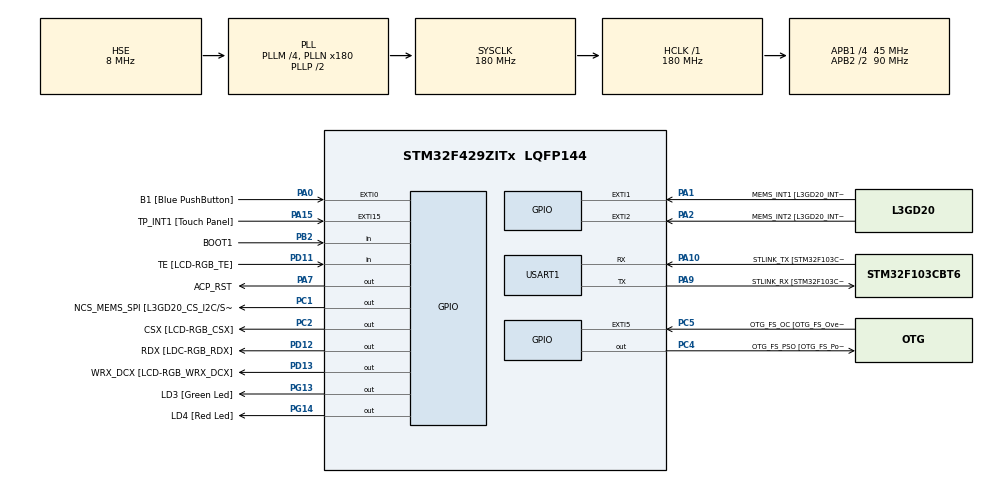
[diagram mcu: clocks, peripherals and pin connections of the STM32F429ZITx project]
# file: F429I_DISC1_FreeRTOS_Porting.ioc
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Mcu.Family=STM32F4
Mcu.Name=STM32F429ZITx
Mcu.Package=LQFP144
NVIC.PriorityGroup=NVIC_PRIORITYGROUP_4
NVIC.TIM6_DAC_IRQn=true\:15\:0\:false\:false\:true\:false\:true\:true
NVIC.TimeBase=TIM6_DAC_IRQn
NVIC.TimeBaseIP=TIM6
PA0/WKUP.GPIO_Label=B1 [Blue PushButton]
PA0/WKUP.GPIO_ModeDefaultEXTI=GPIO_MODE_EVT_RISING
PA0/WKUP.GPIO_PuPd=GPIO_NOPULL
PA0/WKUP.Signal=GPXTI0
PA1.GPIO_Label=MEMS_INT1 [L3GD20_INT1]
PA1.GPIO_ModeDefaultEXTI=GPIO_MODE_EVT_RISING
PA1.GPIO_PuPd=GPIO_NOPULL
PA1.Signal=GPXTI1
PA10.GPIO_Label=STLINK_TX [STM32F103CBT6_PA2]
PA10.Mode=Asynchronous
PA10.Signal=USART1_RX
PA11.GPIO_Label=R4
PA11.GPIO_Mode=GPIO_MODE_AF_PP
PA11.GPIO_PuPd=GPIO_NOPULL
PA11.GPIO_Speed=GPIO_SPEED_FREQ_LOW
PA11.Signal=LTDC_R4
PA12.GPIO_Label=R5
PA12.GPIO_Mode=GPIO_MODE_AF_PP
PA12.GPIO_PuPd=GPIO_NOPULL
PA12.GPIO_Speed=GPIO_SPEED_FREQ_LOW
PA12.Signal=LTDC_R5
PA13.GPIO_Label=SWDIO
PA13.Mode=Serial_Wire
PA13.Signal=SYS_JTMS-SWDIO
PA14.GPIO_Label=SWCLK
PA14.Mode=Serial_Wire
PA14.Signal=SYS_JTCK-SWCLK
PA15.GPIO_Label=TP_INT1 [Touch Panel]
PA15.GPIO_ModeDefaultEXTI=GPIO_MODE_EVT_RISING
PA15.GPIO_PuPd=GPIO_NOPULL
PA15.Signal=GPXTI15
PA2.GPIO_Label=MEMS_INT2 [L3GD20_INT2]
PA2.GPIO_ModeDefaultEXTI=GPIO_MODE_EVT_RISING
PA2.GPIO_PuPd=GPIO_NOPULL
PA2.Signal=GPXTI2
PA3.GPIO_Label=B5
PA3.GPIO_Mode=GPIO_MODE_AF_PP
PA3.GPIO_PuPd=GPIO_NOPULL
PA3.GPIO_Speed=GPIO_SPEED_FREQ_LOW
PA3.Signal=LTDC_B5
PA4.GPIO_Label=VSYNC
PA4.GPIO_Mode=GPIO_MODE_AF_PP
PA4.GPIO_PuPd=GPIO_NOPULL
PA4.GPIO_Speed=GPIO_SPEED_FREQ_LOW
PA4.Signal=LTDC_VSYNC
PA6.GPIO_Label=G2
PA6.GPIO_Mode=GPIO_MODE_AF_PP
PA6.GPIO_PuPd=GPIO_NOPULL
PA6.GPIO_Speed=GPIO_SPEED_FREQ_LOW
PA6.Signal=LTDC_G2
PA7.GPIO_Label=ACP_RST
PA7.GPIO_Mode=GPIO_MODE_OUTPUT_PP
PA7.GPIO_PuPd=GPIO_NOPULL
PA7.GPIO_Speed=GPIO_SPEED_FREQ_LOW
PA7.Signal=GPIO_Output
PA8.GPIO_Label=I2C3_SCL [ACP/RF_SCL]
PA8.GPIO_Mode=GPIO_MODE_AF_OD
PA8.GPIO_Pu=GPIO_PULLUP
PA8.GPIO_PuPd=GPIO_NOPULL
PA8.GPIO_Speed=GPIO_SPEED_FREQ_LOW
PA8.Signal=I2C3_SCL
PA9.GPIO_Label=STLINK_RX [STM32F103CBT6_PA3]
PA9.Mode=Asynchronous
PA9.Signal=USART1_TX
PB0.GPIO_Label=R3
PB0.GPIO_Mode=GPIO_MODE_AF_PP
PB0.GPIO_PuPd=GPIO_NOPULL
PB0.GPIO_Speed=GPIO_SPEED_FREQ_LOW
PB0.Signal=LTDC_R3
PB1.GPIO_Label=R6
PB1.GPIO_Mode=GPIO_MODE_AF_PP
PB1.GPIO_PuPd=GPIO_NOPULL
PB1.GPIO_Speed=GPIO_SPEED_FREQ_LOW
PB1.Signal=LTDC_R6
PB10.GPIO_Label=G4
PB10.GPIO_Mode=GPIO_MODE_AF_PP
PB10.GPIO_PuPd=GPIO_NOPULL
PB10.GPIO_Speed=GPIO_SPEED_FREQ_LOW
PB10.Signal=LTDC_G4
PB11.GPIO_Label=G5
PB11.GPIO_Mode=GPIO_MODE_AF_PP
PB11.GPIO_PuPd=GPIO_NOPULL
PB11.GPIO_Speed=GPIO_SPEED_FREQ_LOW
PB11.Signal=LTDC_G5
PB12.GPIO_Label=OTG_HS_ID
PB12.GPIO_Mode=GPIO_MODE_AF_PP
PB12.GPIO_PuPd=GPIO_NOPULL
PB12.GPIO_Speed=GPIO_SPEED_FREQ_LOW
PB12.Signal=USB_OTG_HS_ID
PB13.GPIO_Label=VBUS_HS
PB13.GPIO_Mode=GPIO_MODE_INPUT
PB13.GPIO_PuPd=GPIO_NOPULL
PB13.Signal=USB_OTG_HS_VBUS
PB14.GPIO_Label=OTG_HS_DM
PB14.GPIO_Mode=GPIO_MODE_AF_PP
PB14.GPIO_PuPd=GPIO_NOPULL
PB14.GPIO_Speed=GPIO_SPEED_FREQ_LOW
PB14.Signal=USB_OTG_HS_DM
PB15.GPIO_Label=OTG_HS_DP
PB15.GPIO_Mode=GPIO_MODE_AF_PP
PB15.GPIO_PuPd=GPIO_NOPULL
PB15.GPIO_Speed=GPIO_SPEED_FREQ_LOW
PB15.Signal=USB_OTG_HS_DP
PB2/BOOT1.GPIO_Label=BOOT1
PB2/BOOT1.GPIO_Mode=GPIO_MODE_INPUT
PB2/BOOT1.GPIO_PuPd=GPIO_NOPULL
PB2/BOOT1.Signal=GPIO_Input
PB5.GPIO_Label=SDCKE1
PB5.GPIO_Mode=GPIO_MODE_AF_PP
PB5.GPIO_PuPd=GPIO_NOPULL
PB5.GPIO_Speed=GPIO_SPEED_FREQ_VERY_HIGH
PB5.Signal=FMC_SDCKE1
PB6.GPIO_Label=SDNE1 [SDRAM_CS]
PB6.GPIO_Mode=GPIO_MODE_AF_PP
PB6.GPIO_PuPd=GPIO_NOPULL
PB6.GPIO_Speed=GPIO_SPEED_FREQ_VERY_HIGH
PB6.Signal=FMC_SDNE1
PB8.GPIO_Label=B6
PB8.GPIO_Mode=GPIO_MODE_AF_PP
PB8.GPIO_PuPd=GPIO_NOPULL
PB8.GPIO_Speed=GPIO_SPEED_FREQ_LOW
PB8.Signal=LTDC_B6
PB9.GPIO_Label=B7
PB9.GPIO_Mode=GPIO_MODE_AF_PP
PB9.GPIO_PuPd=GPIO_NOPULL
PB9.GPIO_Speed=GPIO_SPEED_FREQ_LOW
PB9.Signal=LTDC_B7
PC0.GPIO_Label=SDNWE
PC0.GPIO_Mode=GPIO_MODE_AF_PP
PC0.GPIO_PuPd=GPIO_NOPULL
PC0.GPIO_Speed=GPIO_SPEED_FREQ_VERY_HIGH
PC0.Signal=FMC_SDNWE
PC1.GPIO_Label=NCS_MEMS_SPI [L3GD20_CS_I2C/SPI]
PC1.GPIO_Mode=GPIO_MODE_OUTPUT_PP
PC1.GPIO_PuPd=GPIO_NOPULL
PC1.GPIO_Speed=GPIO_SPEED_FREQ_LOW
PC1.Signal=GPIO_Output
PC10.GPIO_Label=R2
PC10.GPIO_Mode=GPIO_MODE_AF_PP
PC10.GPIO_PuPd=GPIO_NOPULL
PC10.GPIO_Speed=GPIO_SPEED_FREQ_LOW
PC10.Signal=LTDC_R2
PC14/OSC32_IN.GPIO_Label=PC14-OSC32_IN
PC14/OSC32_IN.Signal=RCC_OSC32_IN
PC15/OSC32_OUT.GPIO_Label=PC15-OSC32_OUT
PC15/OSC32_OUT.Signal=RCC_OSC32_OUT
PC2.GPIO_Label=CSX [LCD-RGB_CSX]
PC2.GPIO_Mode=GPIO_MODE_OUTPUT_PP
PC2.GPIO_PuPd=GPIO_NOPULL
PC2.GPIO_Speed=GPIO_SPEED_FREQ_LOW
PC2.Signal=GPIO_Output
PC4.GPIO_Label=OTG_FS_PSO [OTG_FS_PowerSwitchOn]
PC4.GPIO_Mode=GPIO_MODE_OUTPUT_PP
PC4.GPIO_PuPd=GPIO_NOPULL
PC4.GPIO_Speed=GPIO_SPEED_FREQ_LOW
PC4.Signal=GPIO_Output
PC5.GPIO_Label=OTG_FS_OC [OTG_FS_OverCurrent]
PC5.GPIO_ModeDefaultEXTI=GPIO_MODE_EVT_RISING
PC5.Signal=GPXTI5
PC6.GPIO_Label=HSYNC
PC6.GPIO_Mode=GPIO_MODE_AF_PP
PC6.GPIO_PuPd=GPIO_NOPULL
PC6.GPIO_Speed=GPIO_SPEED_FREQ_LOW
PC6.Signal=LTDC_HSYNC
PC7.GPIO_Label=G6
PC7.GPIO_Mode=GPIO_MODE_AF_PP
PC7.GPIO_PuPd=GPIO_NOPULL
PC7.GPIO_Speed=GPIO_SPEED_FREQ_LOW
PC7.Signal=LTDC_G6
PC9.GPIO_Label=I2C3_SDA [ACP/RF_SDA]
PC9.GPIO_Mode=GPIO_MODE_AF_OD
PC9.GPIO_Pu=GPIO_PULLUP
PC9.GPIO_PuPd=GPIO_NOPULL
PC9.GPIO_Speed=GPIO_SPEED_FREQ_LOW
PC9.Signal=I2C3_SDA
PD0.GPIO_Label=D2
PD0.GPIO_Mode=GPIO_MODE_AF_PP
PD0.GPIO_PuPd=GPIO_NOPULL
PD0.GPIO_Speed=GPIO_SPEED_FREQ_VERY_HIGH
PD0.Signal=FMC_D2_DA2
PD1.GPIO_Label=D3
PD1.GPIO_Mode=GPIO_MODE_AF_PP
PD1.GPIO_PuPd=GPIO_NOPULL
PD1.GPIO_Speed=GPIO_SPEED_FREQ_VERY_HIGH
PD1.Signal=FMC_D3_DA3
PD10.GPIO_Label=D15
PD10.GPIO_Mode=GPIO_MODE_AF_PP
PD10.GPIO_PuPd=GPIO_NOPULL
PD10.GPIO_Speed=GPIO_SPEED_FREQ_VERY_HIGH
PD10.Signal=FMC_D15_DA15
PD11.GPIO_Label=TE [LCD-RGB_TE]
PD11.GPIO_Mode=GPIO_MODE_INPUT
PD11.GPIO_PuPd=GPIO_NOPULL
PD11.Signal=GPIO_Input
PD12.GPIO_Label=RDX [LDC-RGB_RDX]
PD12.GPIO_Mode=GPIO_MODE_OUTPUT_PP
PD12.GPIO_PuPd=GPIO_NOPULL
PD12.GPIO_Speed=GPIO_SPEED_FREQ_LOW
PD12.Signal=GPIO_Output
PD13.GPIO_Label=WRX_DCX [LCD-RGB_WRX_DCX]
PD13.GPIO_Mode=GPIO_MODE_OUTPUT_PP
PD13.GPIO_PuPd=GPIO_NOPULL
PD13.GPIO_Speed=GPIO_SPEED_FREQ_LOW
PD13.Signal=GPIO_Output
PD14.GPIO_Label=D0
PD14.GPIO_Mode=GPIO_MODE_AF_PP
PD14.GPIO_PuPd=GPIO_NOPULL
PD14.GPIO_Speed=GPIO_SPEED_FREQ_VERY_HIGH
PD14.Signal=FMC_D0_DA0
PD15.GPIO_Label=D1
PD15.GPIO_Mode=GPIO_MODE_AF_PP
PD15.GPIO_PuPd=GPIO_NOPULL
PD15.GPIO_Speed=GPIO_SPEED_FREQ_VERY_HIGH
PD15.Signal=FMC_D1_DA1
PD3.GPIO_Label=G7
PD3.GPIO_Mode=GPIO_MODE_AF_PP
PD3.GPIO_PuPd=GPIO_NOPULL
PD3.GPIO_Speed=GPIO_SPEED_FREQ_LOW
PD3.Signal=LTDC_G7
PD6.GPIO_Label=B2
PD6.GPIO_Mode=GPIO_MODE_AF_PP
PD6.GPIO_PuPd=GPIO_NOPULL
PD6.GPIO_Speed=GPIO_SPEED_FREQ_LOW
PD6.Signal=LTDC_B2
PD8.GPIO_Label=D13
PD8.GPIO_Mode=GPIO_MODE_AF_PP
PD8.GPIO_PuPd=GPIO_NOPULL
PD8.GPIO_Speed=GPIO_SPEED_FREQ_VERY_HIGH
PD8.Signal=FMC_D13_DA13
PD9.GPIO_Label=D14
PD9.GPIO_Mode=GPIO_MODE_AF_PP
PD9.GPIO_PuPd=GPIO_NOPULL
PD9.GPIO_Speed=GPIO_SPEED_FREQ_VERY_HIGH
PD9.Signal=FMC_D14_DA14
PE0.GPIO_Label=NBL0 [SDRAM_LDQM]
PE0.GPIO_Mode=GPIO_MODE_AF_PP
PE0.GPIO_PuPd=GPIO_NOPULL
PE0.GPIO_Speed=GPIO_SPEED_FREQ_VERY_HIGH
PE0.Signal=FMC_NBL0
PE1.GPIO_Label=NBL1 [SDRAM_UDQM]
PE1.GPIO_Mode=GPIO_MODE_AF_PP
PE1.GPIO_PuPd=GPIO_NOPULL
PE1.GPIO_Speed=GPIO_SPEED_FREQ_VERY_HIGH
PE1.Signal=FMC_NBL1
PE10.GPIO_Label=D7
PE10.GPIO_Mode=GPIO_MODE_AF_PP
PE10.GPIO_PuPd=GPIO_NOPULL
PE10.GPIO_Speed=GPIO_SPEED_FREQ_VERY_HIGH
PE10.Signal=FMC_D7_DA7
PE11.GPIO_Label=D8
PE11.GPIO_Mode=GPIO_MODE_AF_PP
PE11.GPIO_PuPd=GPIO_NOPULL
PE11.GPIO_Speed=GPIO_SPEED_FREQ_VERY_HIGH
PE11.Signal=FMC_D8_DA8
PE12.GPIO_Label=D9
PE12.GPIO_Mode=GPIO_MODE_AF_PP
PE12.GPIO_PuPd=GPIO_NOPULL
PE12.GPIO_Speed=GPIO_SPEED_FREQ_VERY_HIGH
PE12.Signal=FMC_D9_DA9
PE13.GPIO_Label=D10
PE13.GPIO_Mode=GPIO_MODE_AF_PP
PE13.GPIO_PuPd=GPIO_NOPULL
PE13.GPIO_Speed=GPIO_SPEED_FREQ_VERY_HIGH
PE13.Signal=FMC_D10_DA10
PE14.GPIO_Label=D11
PE14.GPIO_Mode=GPIO_MODE_AF_PP
PE14.GPIO_PuPd=GPIO_NOPULL
PE14.GPIO_Speed=GPIO_SPEED_FREQ_VERY_HIGH
PE14.Signal=FMC_D11_DA11
PE15.GPIO_Label=D12
PE15.GPIO_Mode=GPIO_MODE_AF_PP
PE15.GPIO_PuPd=GPIO_NOPULL
PE15.GPIO_Speed=GPIO_SPEED_FREQ_VERY_HIGH
PE15.Signal=FMC_D12_DA12
PE7.GPIO_Label=D4
PE7.GPIO_Mode=GPIO_MODE_AF_PP
PE7.GPIO_PuPd=GPIO_NOPULL
PE7.GPIO_Speed=GPIO_SPEED_FREQ_VERY_HIGH
PE7.Signal=FMC_D4_DA4
PE8.GPIO_Label=D5
PE8.GPIO_Mode=GPIO_MODE_AF_PP
PE8.GPIO_PuPd=GPIO_NOPULL
PE8.GPIO_Speed=GPIO_SPEED_FREQ_VERY_HIGH
PE8.Signal=FMC_D5_DA5
PE9.GPIO_Label=D6
PE9.GPIO_Mode=GPIO_MODE_AF_PP
PE9.GPIO_PuPd=GPIO_NOPULL
PE9.GPIO_Speed=GPIO_SPEED_FREQ_VERY_HIGH
PE9.Signal=FMC_D6_DA6
PF0.GPIO_Label=A0
PF0.GPIO_Mode=GPIO_MODE_AF_PP
PF0.GPIO_PuPd=GPIO_NOPULL
PF0.GPIO_Speed=GPIO_SPEED_FREQ_VERY_HIGH
PF0.Signal=FMC_A0
PF1.GPIO_Label=A1
PF1.GPIO_Mode=GPIO_MODE_AF_PP
PF1.GPIO_PuPd=GPIO_NOPULL
PF1.GPIO_Speed=GPIO_SPEED_FREQ_VERY_HIGH
PF1.Signal=FMC_A1
PF10.GPIO_Label=ENABLE [LCD-RGB_ENABLE]
PF10.GPIO_Mode=GPIO_MODE_AF_PP
PF10.GPIO_PuPd=GPIO_NOPULL
PF10.GPIO_Speed=GPIO_SPEED_FREQ_LOW
PF10.Signal=LTDC_DE
PF11.GPIO_Label=SDNRAS
PF11.GPIO_Mode=GPIO_MODE_AF_PP
PF11.GPIO_PuPd=GPIO_NOPULL
PF11.GPIO_Speed=GPIO_SPEED_FREQ_VERY_HIGH
PF11.Signal=FMC_SDNRAS
PF12.GPIO_Label=A6
PF12.GPIO_Mode=GPIO_MODE_AF_PP
PF12.GPIO_PuPd=GPIO_NOPULL
PF12.GPIO_Speed=GPIO_SPEED_FREQ_VERY_HIGH
PF12.Signal=FMC_A6
PF13.GPIO_Label=A7
PF13.GPIO_Mode=GPIO_MODE_AF_PP
PF13.GPIO_PuPd=GPIO_NOPULL
PF13.GPIO_Speed=GPIO_SPEED_FREQ_VERY_HIGH
PF13.Signal=FMC_A7
PF14.GPIO_Label=A8
PF14.GPIO_Mode=GPIO_MODE_AF_PP
PF14.GPIO_PuPd=GPIO_NOPULL
PF14.GPIO_Speed=GPIO_SPEED_FREQ_VERY_HIGH
PF14.Signal=FMC_A8
PF15.GPIO_Label=A9
PF15.GPIO_Mode=GPIO_MODE_AF_PP
PF15.GPIO_PuPd=GPIO_NOPULL
PF15.GPIO_Speed=GPIO_SPEED_FREQ_VERY_HIGH
PF15.Signal=FMC_A9
PF2.GPIO_Label=A2
PF2.GPIO_Mode=GPIO_MODE_AF_PP
PF2.GPIO_PuPd=GPIO_NOPULL
PF2.GPIO_Speed=GPIO_SPEED_FREQ_VERY_HIGH
PF2.Signal=FMC_A2
PF3.GPIO_Label=A3
PF3.GPIO_Mode=GPIO_MODE_AF_PP
PF3.GPIO_PuPd=GPIO_NOPULL
PF3.GPIO_Speed=GPIO_SPEED_FREQ_VERY_HIGH
PF3.Signal=FMC_A3
PF4.GPIO_Label=A4
PF4.GPIO_Mode=GPIO_MODE_AF_PP
PF4.GPIO_PuPd=GPIO_NOPULL
PF4.GPIO_Speed=GPIO_SPEED_FREQ_VERY_HIGH
PF4.Signal=FMC_A4
PF5.GPIO_Label=A5
PF5.GPIO_Mode=GPIO_MODE_AF_PP
PF5.GPIO_PuPd=GPIO_NOPULL
PF5.GPIO_Speed=GPIO_SPEED_FREQ_VERY_HIGH
PF5.Signal=FMC_A5
PF7.GPIO_Label=SPI5_SCK [L3GD20_SCL/SPC]
PF7.GPIO_Mode=GPIO_MODE_AF_PP
PF7.GPIO_PuPd=GPIO_NOPULL
PF7.GPIO_Speed=GPIO_SPEED_FREQ_LOW
PF7.Signal=SPI5_SCK
PF8.GPIO_Label=SPI5_MISO [L3GD20_SDO]
PF8.GPIO_Mode=GPIO_MODE_AF_PP
PF8.GPIO_PuPd=GPIO_NOPULL
PF8.GPIO_Speed=GPIO_SPEED_FREQ_LOW
PF8.Signal=SPI5_MISO
PF9.GPIO_Label=SPI5_MOSI [L3GD20_SDA/SDI/SDO]
PF9.GPIO_Mode=GPIO_MODE_AF_PP
PF9.GPIO_PuPd=GPIO_NOPULL
PF9.GPIO_Speed=GPIO_SPEED_FREQ_LOW
PF9.Signal=SPI5_MOSI
PG0.GPIO_Label=A10
PG0.GPIO_Mode=GPIO_MODE_AF_PP
PG0.GPIO_PuPd=GPIO_NOPULL
PG0.GPIO_Speed=GPIO_SPEED_FREQ_VERY_HIGH
PG0.Signal=FMC_A10
PG1.GPIO_Label=A11
PG1.GPIO_Mode=GPIO_MODE_AF_PP
PG1.GPIO_PuPd=GPIO_NOPULL
PG1.GPIO_Speed=GPIO_SPEED_FREQ_VERY_HIGH
PG1.Signal=FMC_A11
PG10.GPIO_Label=G3
PG10.GPIO_Mode=GPIO_MODE_AF_PP
PG10.GPIO_PuPd=GPIO_NOPULL
PG10.GPIO_Speed=GPIO_SPEED_FREQ_LOW
PG10.Signal=LTDC_G3
PG11.GPIO_Label=B3
PG11.GPIO_Mode=GPIO_MODE_AF_PP
PG11.GPIO_PuPd=GPIO_NOPULL
PG11.GPIO_Speed=GPIO_SPEED_FREQ_LOW
PG11.Signal=LTDC_B3
PG12.GPIO_Label=B4
PG12.GPIO_Mode=GPIO_MODE_AF_PP
PG12.GPIO_PuPd=GPIO_NOPULL
PG12.GPIO_Speed=GPIO_SPEED_FREQ_LOW
PG12.Signal=LTDC_B4
PG13.GPIO_Label=LD3 [Green Led]
PG13.GPIO_Mode=GPIO_MODE_OUTPUT_PP
PG13.GPIO_PuPd=GPIO_NOPULL
PG13.GPIO_Speed=GPIO_SPEED_FREQ_LOW
PG13.Signal=GPIO_Output
PG14.GPIO_Label=LD4 [Red Led]
PG14.GPIO_Mode=GPIO_MODE_OUTPUT_PP
PG14.GPIO_PuPd=GPIO_NOPULL
PG14.GPIO_Speed=GPIO_SPEED_FREQ_LOW
PG14.Signal=GPIO_Output
PG15.GPIO_Label=SDNCAS
PG15.GPIO_Mode=GPIO_MODE_AF_PP
PG15.GPIO_PuPd=GPIO_NOPULL
PG15.GPIO_Speed=GPIO_SPEED_FREQ_VERY_HIGH
PG15.Signal=FMC_SDNCAS
PG4.GPIO_Label=BA0
PG4.GPIO_Mode=GPIO_MODE_AF_PP
PG4.GPIO_PuPd=GPIO_NOPULL
PG4.GPIO_Speed=GPIO_SPEED_FREQ_VERY_HIGH
PG4.Signal=FMC_A14_BA0
PG5.GPIO_Label=BA1
PG5.GPIO_Mode=GPIO_MODE_AF_PP
PG5.GPIO_PuPd=GPIO_NOPULL
PG5.GPIO_Speed=GPIO_SPEED_FREQ_VERY_HIGH
PG5.Signal=FMC_A15_BA1
PG6.GPIO_Label=R7
PG6.GPIO_Mode=GPIO_MODE_AF_PP
PG6.GPIO_PuPd=GPIO_NOPULL
PG6.GPIO_Speed=GPIO_SPEED_FREQ_LOW
PG6.Signal=LTDC_R7
PG7.GPIO_Label=DOTCLK [LCT-RGB_DOTCLK]
PG7.GPIO_Mode=GPIO_MODE_AF_PP
PG7.GPIO_PuPd=GPIO_NOPULL
PG7.GPIO_Speed=GPIO_SPEED_FREQ_LOW
PG7.Signal=LTDC_CLK
PG8.GPIO_Label=SDCLK
PG8.GPIO_Mode=GPIO_MODE_AF_PP
PG8.GPIO_PuPd=GPIO_NOPULL
PG8.GPIO_Speed=GPIO_SPEED_FREQ_VERY_HIGH
PG8.Signal=FMC_SDCLK
PH0/OSC_IN.GPIO_Label=PH0-OSC_IN
PH0/OSC_IN.Mode=HSE-External-Oscillator
PH0/OSC_IN.Signal=RCC_OSC_IN
PH1/OSC_OUT.GPIO_Label=PH1-OSC_OUT
PH1/OSC_OUT.Mode=HSE-External-Oscillator
PH1/OSC_OUT.Signal=RCC_OSC_OUT
ProjectManager.HeapSize=0x200
ProjectManager.StackSize=0x400
ProjectManager.TargetToolchain=CMake
RCC.48MHZClocksFreq_Value=120000000
RCC.AHBFreq_Value=180000000
RCC.APB1CLKDivider=RCC_HCLK_DIV4
RCC.APB1Freq_Value=45000000
RCC.APB1TimFreq_Value=90000000
RCC.APB2CLKDivider=RCC_HCLK_DIV2
RCC.APB2Freq_Value=90000000
RCC.APB2TimFreq_Value=180000000
RCC.CortexFreq_Value=180000000
RCC.HCLKFreq_Value=180000000
RCC.HSE_VALUE=8000000
RCC.HSI_VALUE=16000000
RCC.LSE_VALUE=32768
RCC.PLLM=4
RCC.PLLN=180
RCC.PLLQ=3
RCC.PLLSAIN=50
RCC.PLLSourceVirtual=RCC_PLLSOURCE_HSE
RCC.SYSCLKFreq_VALUE=180000000
RCC.SYSCLKSource=RCC_SYSCLKSOURCE_PLLCLK
RCC.VCOOutputFreq_Value=360000000
SH.FMC_A0.0=FMC_A0
SH.FMC_A1.0=FMC_A1
SH.FMC_A10.0=FMC_A10
SH.FMC_A11.0=FMC_A11
SH.FMC_A14_BA0.0=FMC_BA0
SH.FMC_A15_BA1.0=FMC_BA1
SH.FMC_A2.0=FMC_A2
SH.FMC_A3.0=FMC_A3
SH.FMC_A4.0=FMC_A4
SH.FMC_A5.0=FMC_A5
SH.FMC_A6.0=FMC_A6
SH.FMC_A7.0=FMC_A7
SH.FMC_A8.0=FMC_A8
SH.FMC_A9.0=FMC_A9
SH.FMC_D0_DA0.0=FMC_D0
SH.FMC_D10_DA10.0=FMC_D10
SH.FMC_D11_DA11.0=FMC_D11
SH.FMC_D12_DA12.0=FMC_D12
SH.FMC_D13_DA13.0=FMC_D13
SH.FMC_D14_DA14.0=FMC_D14
SH.FMC_D15_DA15.0=FMC_D15
SH.FMC_D1_DA1.0=FMC_D1
SH.FMC_D2_DA2.0=FMC_D2
SH.FMC_D3_DA3.0=FMC_D3
SH.FMC_D4_DA4.0=FMC_D4
SH.FMC_D5_DA5.0=FMC_D5
SH.FMC_D6_DA6.0=FMC_D6
SH.FMC_D7_DA7.0=FMC_D7
SH.FMC_D8_DA8.0=FMC_D8
SH.FMC_D9_DA9.0=FMC_D9
SH.FMC_NBL0.0=FMC_NBL0
SH.FMC_NBL1.0=FMC_NBL1
SH.FMC_SDCLK.0=FMC_SDCLK
SH.FMC_SDNCAS.0=FMC_SDNCAS
SH.FMC_SDNRAS.0=FMC_SDNRAS
SH.FMC_SDNWE.0=FMC_SDNWE
USART1.VirtualMode=VM_ASYNC
VP_SYS_VS_tim6.Mode=TIM6
board=STM32F429I-DISC1

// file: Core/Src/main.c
/* USER CODE BEGIN Header */
/**
  ******************************************************************************
  * @file           : main.c
  * @brief          : Main program body
  ******************************************************************************
  * @attention
  *
  * Copyright (c) 2026 STMicroelectronics.
  * All rights reserved.
  *
  * This software is licensed under terms that can be found in the LICENSE file
  * in the root directory of this software component.
  * If no LICENSE file comes with this software, it is provided AS-IS.
  *
  ******************************************************************************
  */
/* USER CODE END Header */
#include "main.h"
#include "usart.h"
#include "gpio.h"

/* USER CODE BEGIN Includes */
#include <stdio.h>
#include <string.h>
#include <stdarg.h>
#include <stdint.h>

#include "FreeRTOS.h"
#include "task.h"

/* USER CODE END Includes */

/* USER CODE BEGIN PM */
void uprintf(UART_HandleTypeDef* huart, const char* format, ...)
{
    char message[64];

    va_list ap;
    va_start(ap, format);
    vsnprintf(message, sizeof(message), format, ap);
    va_end(ap);

    HAL_UART_Transmit(huart,
        (uint8_t*)(message),
        strlen(message),
        HAL_MAX_DELAY);
}

/* USER CODE END PM */

void SystemClock_Config(void);
/* USER CODE BEGIN PFP */
static void task1Handler(void* args);
/* USER CODE END PFP */

/* USER CODE BEGIN 0 */
TaskHandle_t task1_Handle;
/* USER CODE END 0 */

int main(void)
{

  /* MCU Configuration--------------------------------------------------------*/

  /* Reset of all peripherals, Initializes the Flash interface and the Systick. */
  HAL_Init();

  /* Configure the system clock */
  SystemClock_Config();

  /* Initialize all configured peripherals */
  MX_GPIO_Init();
  MX_USART1_UART_Init();

  /* Infinite loop */
  /* USER CODE BEGIN WHILE */

  xTaskCreate(task1Handler, "task1", 256, NULL, 2, &task1_Handle);
  vTaskStartScheduler();

  while (1)
  {

    /* USER CODE END WHILE */

  }
}

void SystemClock_Config(void)
{
  RCC_OscInitTypeDef RCC_OscInitStruct = {0};
  RCC_ClkInitTypeDef RCC_ClkInitStruct = {0};

  /** Configure the main internal regulator output voltage
  */
  __HAL_RCC_PWR_CLK_ENABLE();
  __HAL_PWR_VOLTAGESCALING_CONFIG(PWR_REGULATOR_VOLTAGE_SCALE1);

  /** Initializes the RCC Oscillators according to the specified parameters
  * in the RCC_OscInitTypeDef structure.
  */
  RCC_OscInitStruct.OscillatorType = RCC_OSCILLATORTYPE_HSE;
  RCC_OscInitStruct.HSEState = RCC_HSE_ON;
  RCC_OscInitStruct.PLL.PLLState = RCC_PLL_ON;
  RCC_OscInitStruct.PLL.PLLSource = RCC_PLLSOURCE_HSE;
  RCC_OscInitStruct.PLL.PLLM = 4;
  RCC_OscInitStruct.PLL.PLLN = 180;
  RCC_OscInitStruct.PLL.PLLP = RCC_PLLP_DIV2;
  RCC_OscInitStruct.PLL.PLLQ = 3;
  if (HAL_RCC_OscConfig(&RCC_OscInitStruct) != HAL_OK)
  {
    Error_Handler();
  }

  /** Activate the Over-Drive mode
  */
  if (HAL_PWREx_EnableOverDrive() != HAL_OK)
  {
    Error_Handler();
  }

  /** Initializes the CPU, AHB and APB buses clocks
  */
  RCC_ClkInitStruct.ClockType = RCC_CLOCKTYPE_HCLK|RCC_CLOCKTYPE_SYSCLK
                              |RCC_CLOCKTYPE_PCLK1|RCC_CLOCKTYPE_PCLK2;
  RCC_ClkInitStruct.SYSCLKSource = RCC_SYSCLKSOURCE_PLLCLK;
  RCC_ClkInitStruct.AHBCLKDivider = RCC_SYSCLK_DIV1;
  RCC_ClkInitStruct.APB1CLKDivider = RCC_HCLK_DIV4;
  RCC_ClkInitStruct.APB2CLKDivider = RCC_HCLK_DIV2;

  if (HAL_RCC_ClockConfig(&RCC_ClkInitStruct, FLASH_LATENCY_5) != HAL_OK)
  {
    Error_Handler();
  }
}

/* USER CODE BEGIN 4 */
void task1Handler(void* args){
  (void)args;

  for(;;){
    uprintf(&huart1,"task1()\n");
    vTaskDelay(pdMS_TO_TICKS(1000));
  }
}

void vApplicationStackOverflowHook(TaskHandle_t xTask, char *pcTaskName)
{
  (void)xTask;
  (void)pcTaskName;
  taskDISABLE_INTERRUPTS();
  for (;;)
  {
  }
}

void vApplicationMallocFailedHook(void)
{
  taskDISABLE_INTERRUPTS();
  for (;;)
  {
  }
}
/* USER CODE END 4 */

void HAL_TIM_PeriodElapsedCallback(TIM_HandleTypeDef *htim)
{
  if (htim->Instance == TIM6)
  {
    HAL_IncTick();
  }
}

void Error_Handler(void)
{
  __disable_irq();
  while (1)
  {
  }
}
